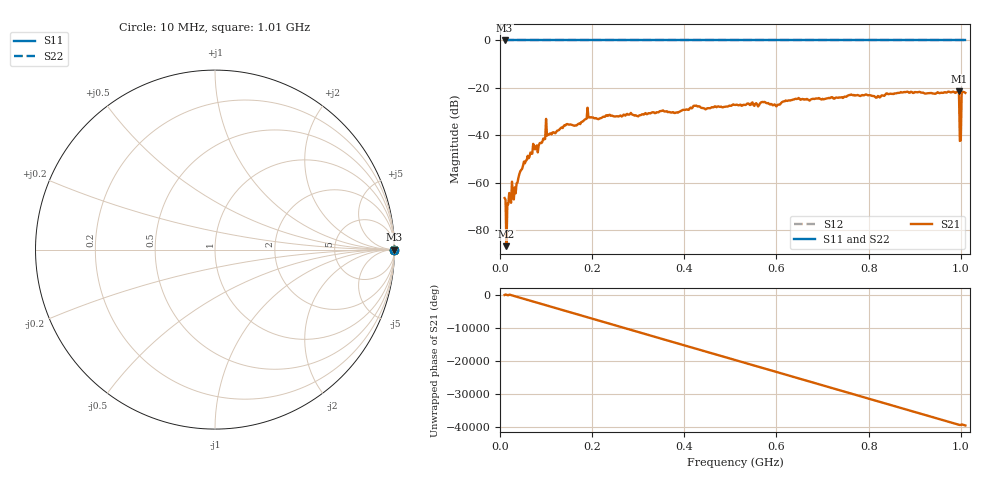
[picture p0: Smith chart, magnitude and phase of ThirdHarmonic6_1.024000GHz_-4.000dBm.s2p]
! 8/16/2025 8:37:54 AM
! C:\ANRITSUVNA\TEMP\TEMP.S2P
! CHANNEL.1
! TR.MEASUREMENT
! RAW.DATA
! RF.CORRECTION.OFF
! AVERAGING.OFF
! IF.BANDWIDTH: 5KHZ
! SWEEPTYPE:  FREQ.SWEEP(Linear)
! Reference Plane Port Info
! PORT:  PORT1  PORT2
! DISTANCE:  0  m  0  m
! TIME:  0  s  0  s
! PHASE.OFFSET:  0  deg.  0  deg.
! LOSS:  0  dB  0  dB
! REF.LOSS:  0  dB  0  dB
! REF.FREQ:  0  Hz  0  Hz
! Power Info
! POWER:  -20  dBm  -20  dBm
! EFF.POWER:  -20  dBm  -20  dBm
! SOURCE.ATTEN:  0  dB  0  dB
! TEST.ATTEN:  0  dB  0  dB
# GHZ S RI R 50.0
! FREQ.GHZ  S11RE  S11IM  S21RE  S21IM  S12RE  S12IM  S22RE  S22IM
!; PortSelection: Port_12
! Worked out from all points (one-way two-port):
!   501 points, 10 MHz to 1.01 GHz, reference 50 ohm
!   highest |S21| = -21.50 dB at 996 MHz (marker M1); lowest = -86.8 dB at 14 MHz (marker M2)
!   lowest |S11| = 0.0 dB at 10 MHz (marker M3)
!   |S11| at or under -10 dB: nowhere
!   |S22| runs from 0.0 to 0.0 dB; largest |S21 - S12| = 1.1
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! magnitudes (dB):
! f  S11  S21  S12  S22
! 10 MHz  0.0  -66.5  0.0  0.0
! 14 MHz  0.0  -86.8  0.0  0.0
! 18 MHz  0.0  -69.1  0.0  0.0
! 24 MHz  0.0  -68.5  0.0  0.0
! 32 MHz  0.0  -61.9  0.0  0.0
! 44 MHz  0.0  -55.2  0.0  0.0
! 56 MHz  0.0  -50.7  0.0  0.0
! 76 MHz  0.0  -45.9  0.0  0.0
! 86 MHz  0.0  -43.3  0.0  0.0
! 98 MHz  0.0  -41.5  0.0  0.0
! 178 MHz  0.0  -34.3  0.0  0.0
! 194 MHz  0.0  -32.4  0.0  0.0
! 214 MHz  0.0  -33.2  0.0  0.0
! 344 MHz  0.0  -30.3  0.0  0.0
! 510 MHz  0.0  -27.2  0.0  0.0
! 678 MHz  0.0  -24.6  0.0  0.0
! 844 MHz  0.0  -22.6  0.0  0.0
! 992 MHz  0.0  -21.6  0.0  0.0
! 996 MHz  0.0  -21.5  0.0  0.0
! 1.002 GHz  0.0  -21.5  0.0  0.0
! 1.006 GHz  0.0  -21.8  0.0  0.0
! 1.01 GHz  0.0  -22.1  0.0  0.0
